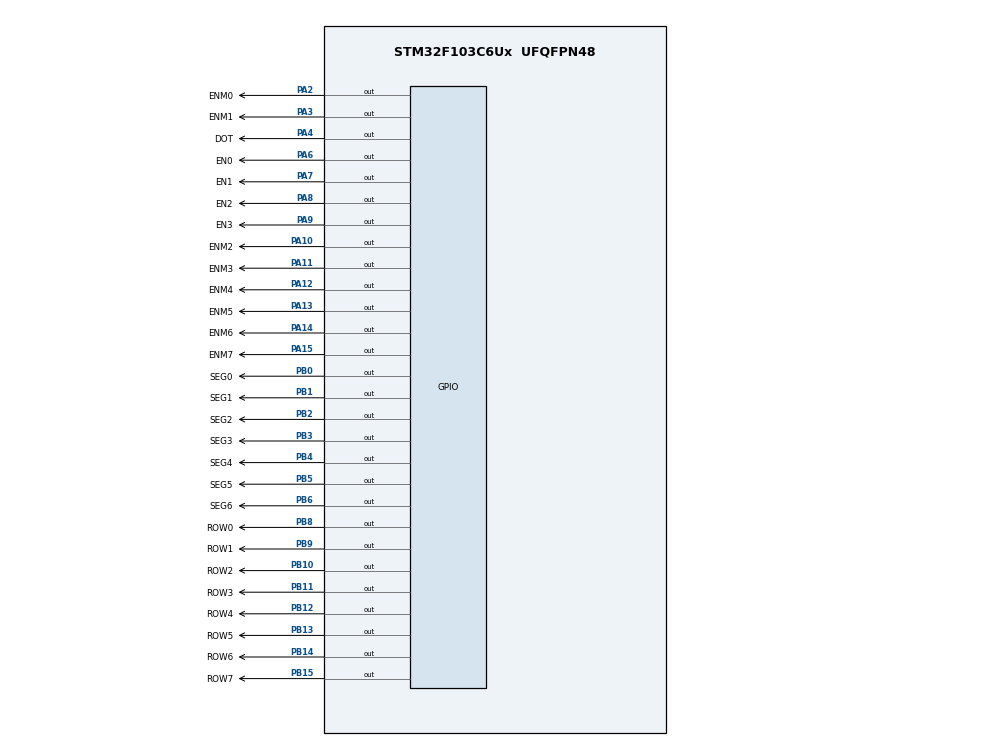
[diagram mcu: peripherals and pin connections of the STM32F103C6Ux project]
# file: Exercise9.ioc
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Mcu.Family=STM32F1
Mcu.Name=STM32F103C6Ux
Mcu.Package=UFQFPN48
NVIC.PriorityGroup=NVIC_PRIORITYGROUP_4
NVIC.TIM2_IRQn=true\:0\:0\:false\:false\:true\:true\:true
PA10.GPIO_Label=ENM2
PA10.Signal=GPIO_Output
PA11.GPIO_Label=ENM3
PA11.Signal=GPIO_Output
PA12.GPIO_Label=ENM4
PA12.Signal=GPIO_Output
PA13.GPIO_Label=ENM5
PA13.Signal=GPIO_Output
PA14.GPIO_Label=ENM6
PA14.Signal=GPIO_Output
PA15.GPIO_Label=ENM7
PA15.Signal=GPIO_Output
PA2.GPIO_Label=ENM0
PA2.Signal=GPIO_Output
PA3.GPIO_Label=ENM1
PA3.Signal=GPIO_Output
PA4.GPIO_Label=DOT
PA4.Signal=GPIO_Output
PA6.GPIO_Label=EN0
PA6.Signal=GPIO_Output
PA7.GPIO_Label=EN1
PA7.Signal=GPIO_Output
PA8.GPIO_Label=EN2
PA8.Signal=GPIO_Output
PA9.GPIO_Label=EN3
PA9.Signal=GPIO_Output
PB0.GPIO_Label=SEG0
PB0.Signal=GPIO_Output
PB1.GPIO_Label=SEG1
PB1.Signal=GPIO_Output
PB10.GPIO_Label=ROW2
PB10.Signal=GPIO_Output
PB11.GPIO_Label=ROW3
PB11.Signal=GPIO_Output
PB12.GPIO_Label=ROW4
PB12.Signal=GPIO_Output
PB13.GPIO_Label=ROW5
PB13.Signal=GPIO_Output
PB14.GPIO_Label=ROW6
PB14.Signal=GPIO_Output
PB15.GPIO_Label=ROW7
PB15.Signal=GPIO_Output
PB2.GPIO_Label=SEG2
PB2.Signal=GPIO_Output
PB3.GPIO_Label=SEG3
PB3.Signal=GPIO_Output
PB4.GPIO_Label=SEG4
PB4.Signal=GPIO_Output
PB5.GPIO_Label=SEG5
PB5.Signal=GPIO_Output
PB6.GPIO_Label=SEG6
PB6.Signal=GPIO_Output
PB8.GPIO_Label=ROW0
PB8.Signal=GPIO_Output
PB9.GPIO_Label=ROW1
PB9.Signal=GPIO_Output
ProjectManager.HeapSize=0x200
ProjectManager.StackSize=0x400
ProjectManager.TargetToolchain=STM32CubeIDE
RCC.APB1Freq_Value=8000000
RCC.APB2Freq_Value=8000000
TIM2.Period=9
TIM2.Prescaler=7999
VP_SYS_VS_ND.Mode=No_Debug
VP_TIM2_VS_ClockSourceINT.Mode=Internal
board=custom

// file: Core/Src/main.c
/* USER CODE BEGIN Header */
/**
  ******************************************************************************
  * @file           : main.c
  * @brief          : Main program body
  ******************************************************************************
  * @attention
  *
  * <h2><center>&copy; Copyright (c) 2023 STMicroelectronics.
  * All rights reserved.</center></h2>
  *
  * This software component is licensed by ST under BSD 3-Clause license,
  * the "License"; You may not use this file except in compliance with the
  * License. You may obtain a copy of the License at:
  *                        opensource.org/licenses/BSD-3-Clause
  *
  ******************************************************************************
  */
/* USER CODE END Header */
#include "main.h"

/* USER CODE BEGIN Includes */
#include "software_timer.h"
/* USER CODE END Includes */

TIM_HandleTypeDef htim2;

void SystemClock_Config(void);
static void MX_GPIO_Init(void);
static void MX_TIM2_Init(void);

int main(void)
{

  /* MCU Configuration--------------------------------------------------------*/

  /* Reset of all peripherals, Initializes the Flash interface and the Systick. */
  HAL_Init();

  /* Configure the system clock */
  SystemClock_Config();

  /* Initialize all configured peripherals */
  MX_GPIO_Init();
  MX_TIM2_Init();
  /* USER CODE BEGIN 2 */
  HAL_TIM_Base_Start_IT(&htim2);
  void display7SEG(int num) {
	  char segNumber[10] = {0xC0, 0xF9, 0xA4, 0xB0, 0x99, 0x92, 0x82, 0xF8, 0x80, 0x90};
      for (int i = 0; i < 7; ++i) {
    	  HAL_GPIO_WritePin(GPIOB, GPIO_PIN_0 << i, (segNumber[num] >> i) & 1);
      }
  }
  int index_led = 0;
  int led_buffer [6] = {0,6,5,9};
  void update7SEG(int index){
	  switch (index){
	  	  case 0:
	  		  display7SEG(led_buffer[0]);
	  		  HAL_GPIO_WritePin(GPIOA, EN0_Pin, RESET);
	  		  HAL_GPIO_WritePin(GPIOA, EN1_Pin, SET);
	  		  HAL_GPIO_WritePin(GPIOA, EN2_Pin, SET);
	  		  HAL_GPIO_WritePin(GPIOA, EN3_Pin, SET);
	  		  break;
    	  case 1:
    		  display7SEG(led_buffer[1]);
    		  HAL_GPIO_WritePin(GPIOA, EN0_Pin, SET);
    		  HAL_GPIO_WritePin(GPIOA, EN1_Pin, RESET);
    		  HAL_GPIO_WritePin(GPIOA, EN2_Pin, SET);
    		  HAL_GPIO_WritePin(GPIOA, EN3_Pin, SET);
    		  break;
    	  case 2:
    		  display7SEG(led_buffer[2]);
    		  HAL_GPIO_WritePin(GPIOA, EN0_Pin, SET);
    		  HAL_GPIO_WritePin(GPIOA, EN1_Pin, SET);
    	  	  HAL_GPIO_WritePin(GPIOA, EN2_Pin, RESET);
    	  	  HAL_GPIO_WritePin(GPIOA, EN3_Pin, SET);
    	  	  break;
    	  case 3:
    		  display7SEG(led_buffer[3]);
    		  HAL_GPIO_WritePin(GPIOA, EN0_Pin, SET);
    		  HAL_GPIO_WritePin(GPIOA, EN1_Pin, SET);
    		  HAL_GPIO_WritePin(GPIOA, EN2_Pin, SET);
    		  HAL_GPIO_WritePin(GPIOA, EN3_Pin, RESET);
    		  break;
    	 default:
    		  break;
	  }
  }
  int hour = 6, minute = 59, second = 50;
  void updateClockBuffer(){
	  led_buffer[0] = hour / 10;
  	  led_buffer[1] = hour % 10;
  	  led_buffer[2] = minute / 10;
  	  led_buffer[3] = minute % 10;
  }
  void setRow(uint8_t val) {
	  HAL_GPIO_WritePin(ROW0_GPIO_Port, ROW0_Pin, ((val>>7)&0x01));
	  HAL_GPIO_WritePin(ROW1_GPIO_Port, ROW1_Pin, ((val>>6)&0x01));
	  HAL_GPIO_WritePin(ROW2_GPIO_Port, ROW2_Pin, ((val>>5)&0x01));
	  HAL_GPIO_WritePin(ROW3_GPIO_Port, ROW3_Pin, ((val>>4)&0x01));
	  HAL_GPIO_WritePin(ROW4_GPIO_Port, ROW4_Pin, ((val>>3)&0x01));
	  HAL_GPIO_WritePin(ROW5_GPIO_Port, ROW5_Pin, ((val>>2)&0x01));
	  HAL_GPIO_WritePin(ROW6_GPIO_Port, ROW6_Pin, ((val>>1)&0x01));
	  HAL_GPIO_WritePin(ROW7_GPIO_Port, ROW7_Pin, ((val>>0)&0x01));
  }
  void setMatrix(void){
	  HAL_GPIO_WritePin(ENM0_GPIO_Port, ENM0_Pin, SET);
	  HAL_GPIO_WritePin(ENM1_GPIO_Port, ENM1_Pin, SET);
	  HAL_GPIO_WritePin(ENM2_GPIO_Port, ENM2_Pin, SET);
	  HAL_GPIO_WritePin(ENM3_GPIO_Port, ENM3_Pin, SET);
	  HAL_GPIO_WritePin(ENM4_GPIO_Port, ENM4_Pin, SET);
	  HAL_GPIO_WritePin(ENM5_GPIO_Port, ENM5_Pin, SET);
	  HAL_GPIO_WritePin(ENM6_GPIO_Port, ENM6_Pin, SET);
	  HAL_GPIO_WritePin(ENM7_GPIO_Port, ENM7_Pin, SET);
  }
  int index_led_matrix = 0;
  uint8_t matrix_buffer[8] = {0xff,0xc1,0xaf,0x6f,0xaf,0xc1,0xff,0xff};
  void updateLEDMatrix(uint8_t index){
	  setMatrix();
	  switch(index){
	  	  case 0:
	  		  setRow(matrix_buffer[0]);
	  		  HAL_GPIO_WritePin(GPIOA, ENM0_Pin, RESET);
	  		  break;
	  	  case 1:
	  		  setRow(matrix_buffer[1]);
	  		  HAL_GPIO_WritePin(GPIOA, ENM1_Pin, RESET);
	  		  break;
	  	  case 2:
	  		  setRow(matrix_buffer[2]);
	  		  HAL_GPIO_WritePin(GPIOA, ENM2_Pin, RESET);
	  		  break;
	  	  case 3:
	  		  setRow(matrix_buffer[3]);
	  		  HAL_GPIO_WritePin(GPIOA, ENM3_Pin, RESET);
	  		  break;
	  	  case 4:
	  		  setRow(matrix_buffer[4]);
	  		  HAL_GPIO_WritePin(GPIOA, ENM4_Pin, RESET);
	  		  break;
	  	  case 5:
	  		  setRow(matrix_buffer[5]);
	  		  HAL_GPIO_WritePin(GPIOA, ENM5_Pin, RESET);
	  		  break;
	  	  case 6:
	  		  setRow(matrix_buffer[6]);
	  		  HAL_GPIO_WritePin(GPIOA, ENM6_Pin, RESET);
	  		  break;
	  	  case 7:
	  		  setRow(matrix_buffer[7]);
	  		  HAL_GPIO_WritePin(GPIOA, ENM7_Pin, RESET);
	  		  break;
	  }
  }
  /* USER CODE END 2 */

  /* Infinite loop */
  /* USER CODE BEGIN WHILE */
  setTimer1(1);
  setTimer2(100);
  setTimer3(1);
  while (1)
  {
	  if (timer1_flag == 1){
		  setTimer1(25);
		  HAL_GPIO_TogglePin(GPIOA, DOT_Pin);
		  update7SEG(index_led++);
		  if(index_led >= 4) index_led = 0;
	  }
	  if (timer3_flag == 1){
		  setTimer3(1);
		  updateLEDMatrix(index_led_matrix++);
		  if(index_led_matrix >= 8) index_led_matrix = 0;
	  }
	  if (timer2_flag == 1){
		  second++;
		  if (second >= 60){
			  second = 0;
			  minute++;
		  }
		  if (minute >= 60){
			  minute = 0;
			  hour++;
		  }
		  if (hour >= 24){
			  hour = 0;
		  }
		  updateClockBuffer();
		  setTimer2 (100);
	  }

    /* USER CODE END WHILE */

  }
}

void SystemClock_Config(void)
{
  RCC_OscInitTypeDef RCC_OscInitStruct = {0};
  RCC_ClkInitTypeDef RCC_ClkInitStruct = {0};

  /** Initializes the RCC Oscillators according to the specified parameters
  * in the RCC_OscInitTypeDef structure.
  */
  RCC_OscInitStruct.OscillatorType = RCC_OSCILLATORTYPE_HSI;
  RCC_OscInitStruct.HSIState = RCC_HSI_ON;
  RCC_OscInitStruct.HSICalibrationValue = RCC_HSICALIBRATION_DEFAULT;
  RCC_OscInitStruct.PLL.PLLState = RCC_PLL_NONE;
  if (HAL_RCC_OscConfig(&RCC_OscInitStruct) != HAL_OK)
  {
    Error_Handler();
  }
  /** Initializes the CPU, AHB and APB buses clocks
  */
  RCC_ClkInitStruct.ClockType = RCC_CLOCKTYPE_HCLK|RCC_CLOCKTYPE_SYSCLK
                              |RCC_CLOCKTYPE_PCLK1|RCC_CLOCKTYPE_PCLK2;
  RCC_ClkInitStruct.SYSCLKSource = RCC_SYSCLKSOURCE_HSI;
  RCC_ClkInitStruct.AHBCLKDivider = RCC_SYSCLK_DIV1;
  RCC_ClkInitStruct.APB1CLKDivider = RCC_HCLK_DIV1;
  RCC_ClkInitStruct.APB2CLKDivider = RCC_HCLK_DIV1;

  if (HAL_RCC_ClockConfig(&RCC_ClkInitStruct, FLASH_LATENCY_0) != HAL_OK)
  {
    Error_Handler();
  }
}

static void MX_TIM2_Init(void)
{

  TIM_ClockConfigTypeDef sClockSourceConfig = {0};
  TIM_MasterConfigTypeDef sMasterConfig = {0};

  htim2.Instance = TIM2;
  htim2.Init.Prescaler = 7999;
  htim2.Init.CounterMode = TIM_COUNTERMODE_UP;
  htim2.Init.Period = 9;
  htim2.Init.ClockDivision = TIM_CLOCKDIVISION_DIV1;
  htim2.Init.AutoReloadPreload = TIM_AUTORELOAD_PRELOAD_DISABLE;
  if (HAL_TIM_Base_Init(&htim2) != HAL_OK)
  {
    Error_Handler();
  }
  sClockSourceConfig.ClockSource = TIM_CLOCKSOURCE_INTERNAL;
  if (HAL_TIM_ConfigClockSource(&htim2, &sClockSourceConfig) != HAL_OK)
  {
    Error_Handler();
  }
  sMasterConfig.MasterOutputTrigger = TIM_TRGO_RESET;
  sMasterConfig.MasterSlaveMode = TIM_MASTERSLAVEMODE_DISABLE;
  if (HAL_TIMEx_MasterConfigSynchronization(&htim2, &sMasterConfig) != HAL_OK)
  {
    Error_Handler();
  }

}

static void MX_GPIO_Init(void)
{
  GPIO_InitTypeDef GPIO_InitStruct = {0};

  /* GPIO Ports Clock Enable */
  __HAL_RCC_GPIOA_CLK_ENABLE();
  __HAL_RCC_GPIOB_CLK_ENABLE();

  /*Configure GPIO pin Output Level */
  HAL_GPIO_WritePin(GPIOA, ENM0_Pin|ENM1_Pin|DOT_Pin|EN0_Pin
                          |EN1_Pin|EN2_Pin|EN3_Pin|ENM2_Pin
                          |ENM3_Pin|ENM4_Pin|ENM5_Pin|ENM6_Pin
                          |ENM7_Pin, GPIO_PIN_RESET);

  /*Configure GPIO pin Output Level */
  HAL_GPIO_WritePin(GPIOB, SEG0_Pin|SEG1_Pin|SEG2_Pin|ROW2_Pin
                          |ROW3_Pin|ROW4_Pin|ROW5_Pin|ROW6_Pin
                          |ROW7_Pin|SEG3_Pin|SEG4_Pin|SEG5_Pin
                          |SEG6_Pin|ROW0_Pin|ROW1_Pin, GPIO_PIN_RESET);

  /*Configure GPIO pins : ENM0_Pin ENM1_Pin DOT_Pin EN0_Pin
                           EN1_Pin EN2_Pin EN3_Pin ENM2_Pin
                           ENM3_Pin ENM4_Pin ENM5_Pin ENM6_Pin
                           ENM7_Pin */
  GPIO_InitStruct.Pin = ENM0_Pin|ENM1_Pin|DOT_Pin|EN0_Pin
                          |EN1_Pin|EN2_Pin|EN3_Pin|ENM2_Pin
                          |ENM3_Pin|ENM4_Pin|ENM5_Pin|ENM6_Pin
                          |ENM7_Pin;
  GPIO_InitStruct.Mode = GPIO_MODE_OUTPUT_PP;
  GPIO_InitStruct.Pull = GPIO_NOPULL;
  GPIO_InitStruct.Speed = GPIO_SPEED_FREQ_LOW;
  HAL_GPIO_Init(GPIOA, &GPIO_InitStruct);

  /*Configure GPIO pins : SEG0_Pin SEG1_Pin SEG2_Pin ROW2_Pin
                           ROW3_Pin ROW4_Pin ROW5_Pin ROW6_Pin
                           ROW7_Pin SEG3_Pin SEG4_Pin SEG5_Pin
                           SEG6_Pin ROW0_Pin ROW1_Pin */
  GPIO_InitStruct.Pin = SEG0_Pin|SEG1_Pin|SEG2_Pin|ROW2_Pin
                          |ROW3_Pin|ROW4_Pin|ROW5_Pin|ROW6_Pin
                          |ROW7_Pin|SEG3_Pin|SEG4_Pin|SEG5_Pin
                          |SEG6_Pin|ROW0_Pin|ROW1_Pin;
  GPIO_InitStruct.Mode = GPIO_MODE_OUTPUT_PP;
  GPIO_InitStruct.Pull = GPIO_NOPULL;
  GPIO_InitStruct.Speed = GPIO_SPEED_FREQ_LOW;
  HAL_GPIO_Init(GPIOB, &GPIO_InitStruct);

}

/* USER CODE BEGIN 4 */
  void HAL_TIM_PeriodElapsedCallback(TIM_HandleTypeDef *htim){
	  timerRun();
  }
/* USER CODE END 4 */

void Error_Handler(void)
{
  __disable_irq();
  while (1)
  {
  }
}

/************************ (C) COPYRIGHT STMicroelectronics *****END OF FILE****/
